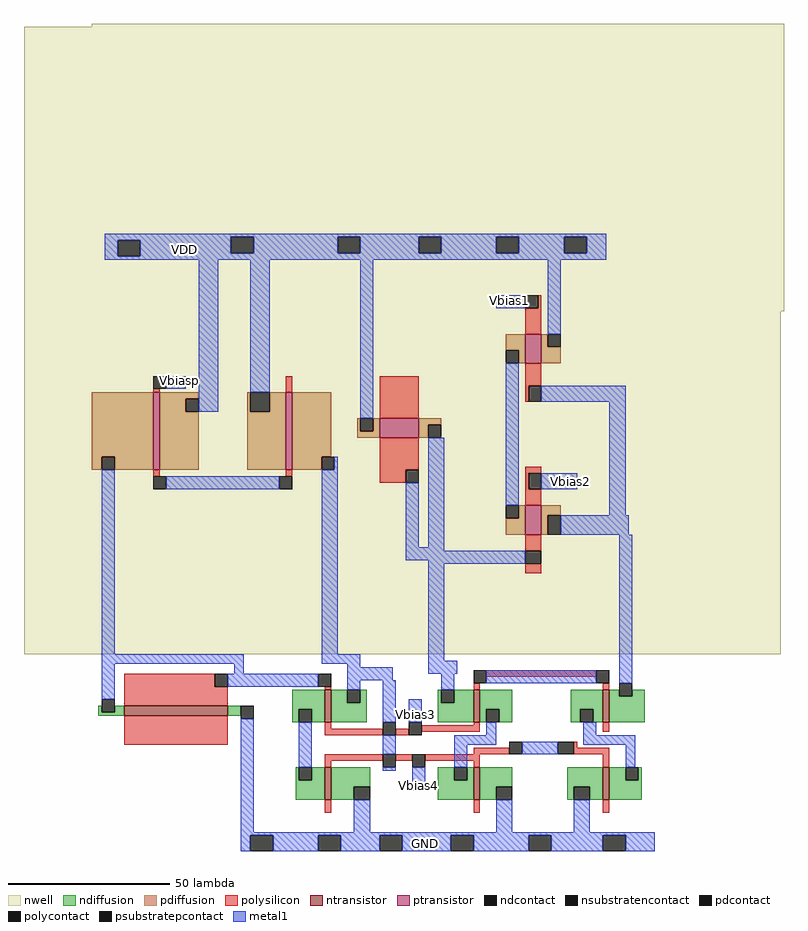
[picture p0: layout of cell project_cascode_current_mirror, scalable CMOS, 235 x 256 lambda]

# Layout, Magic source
magic
tech scmos
<< nwell >>
rect -97 114 117 115
rect -118 26 117 114
rect -118 -80 116 26
<< ntransistor >>
rect -87 -99 -55 -96
rect -25 -101 -23 -91
rect 21 -101 23 -91
rect 61 -101 63 -91
rect -25 -125 -23 -115
rect 21 -125 23 -115
rect 61 -125 63 -115
<< ptransistor >>
rect 37 10 42 19
rect -78 -23 -76 1
rect -37 -23 -35 1
rect -8 -13 4 -7
rect 37 -43 42 -34
<< ndiffusion >>
rect -95 -98 -94 -96
rect -90 -98 -87 -96
rect -95 -99 -87 -98
rect -55 -99 -51 -96
rect -35 -97 -25 -91
rect -35 -101 -33 -97
rect -29 -101 -25 -97
rect -23 -95 -18 -91
rect -14 -95 -12 -91
rect -23 -101 -12 -95
rect 10 -95 11 -91
rect 15 -95 21 -91
rect 10 -101 21 -95
rect 23 -97 33 -91
rect 23 -101 25 -97
rect 29 -101 33 -97
rect 51 -97 61 -91
rect 51 -101 54 -97
rect 58 -101 61 -97
rect 63 -93 66 -91
rect 70 -93 74 -91
rect 63 -101 74 -93
rect -34 -119 -33 -115
rect -29 -119 -25 -115
rect -34 -125 -25 -119
rect -23 -121 -11 -115
rect -23 -125 -16 -121
rect 10 -119 15 -115
rect 19 -119 21 -115
rect 10 -125 21 -119
rect 23 -121 33 -115
rect 23 -125 28 -121
rect 50 -121 61 -115
rect 50 -125 52 -121
rect 57 -125 61 -121
rect 63 -119 68 -115
rect 72 -119 73 -115
rect 63 -125 73 -119
<< pdiffusion >>
rect 31 14 37 19
rect 35 10 37 14
rect 42 15 44 19
rect 42 10 48 15
rect -97 -19 -78 1
rect -97 -23 -94 -19
rect -90 -23 -78 -19
rect -76 -1 -64 1
rect -76 -5 -68 -1
rect -76 -23 -64 -5
rect -49 -5 -48 1
rect -42 -5 -37 1
rect -49 -23 -37 -5
rect -35 -19 -23 1
rect -15 -11 -14 -7
rect -10 -11 -8 -7
rect -15 -13 -8 -11
rect 4 -9 11 -7
rect 4 -13 7 -9
rect -35 -23 -26 -19
rect 35 -38 37 -34
rect 31 -43 37 -38
rect 42 -37 48 -34
rect 42 -43 44 -37
<< ndcontact >>
rect -94 -98 -90 -94
rect -51 -100 -47 -96
rect -33 -101 -29 -97
rect -18 -95 -14 -91
rect 11 -95 15 -91
rect 25 -101 29 -97
rect 54 -101 58 -97
rect 66 -93 70 -89
rect -33 -119 -29 -115
rect -16 -125 -11 -121
rect 15 -119 19 -115
rect 28 -125 33 -121
rect 52 -125 57 -121
rect 68 -119 72 -115
<< pdcontact >>
rect 31 10 35 14
rect 44 15 48 19
rect -94 -23 -90 -19
rect -68 -5 -64 -1
rect -48 -5 -42 1
rect -14 -11 -10 -7
rect 7 -13 11 -9
rect -26 -23 -22 -19
rect 31 -38 35 -34
rect 44 -43 48 -37
<< psubstratepcontact >>
rect -48 -141 -41 -136
rect -27 -141 -20 -136
rect -8 -141 -1 -136
rect 14 -141 21 -136
rect 38 -141 45 -136
rect 61 -141 68 -136
<< nsubstratencontact >>
rect -89 43 -82 48
rect -54 44 -47 49
rect -21 44 -14 49
rect 4 44 11 49
rect 28 44 35 49
rect 49 44 56 49
<< polysilicon >>
rect 41 27 42 31
rect 37 19 42 27
rect -78 1 -76 2
rect -37 1 -35 6
rect -8 -7 4 6
rect 37 3 42 10
rect 37 -2 38 3
rect -8 -23 4 -13
rect -78 -25 -76 -23
rect -37 -25 -35 -23
rect -8 -27 0 -23
rect 37 -24 42 -22
rect 37 -29 38 -24
rect 37 -34 42 -29
rect 37 -48 42 -43
rect 37 -55 42 -52
rect -87 -90 -59 -86
rect -87 -96 -55 -90
rect -25 -91 -23 -90
rect 25 -87 59 -85
rect 21 -91 23 -89
rect 61 -91 63 -89
rect -87 -108 -55 -99
rect -25 -103 -23 -101
rect -25 -105 -7 -103
rect -3 -105 1 -103
rect 21 -102 23 -101
rect 5 -104 23 -102
rect 61 -104 63 -101
rect 21 -111 32 -109
rect 52 -109 53 -107
rect 52 -111 63 -109
rect -25 -113 -7 -111
rect -25 -115 -23 -113
rect -3 -113 2 -111
rect 6 -113 23 -111
rect 21 -115 23 -113
rect 61 -115 63 -111
rect -25 -129 -23 -125
rect 21 -129 23 -125
rect 61 -129 63 -125
<< polycontact >>
rect 37 27 41 31
rect -78 2 -74 6
rect 38 -2 42 3
rect -78 -29 -74 -25
rect -39 -29 -35 -25
rect 0 -27 4 -23
rect 38 -29 42 -24
rect 37 -52 42 -48
rect -59 -90 -55 -86
rect -27 -90 -23 -86
rect 21 -89 25 -85
rect 59 -89 63 -85
rect -7 -105 -3 -101
rect 1 -105 5 -101
rect 32 -111 36 -107
rect 47 -111 52 -107
rect -7 -115 -3 -111
rect 2 -115 6 -111
<< metal1 >>
rect -93 49 62 50
rect -93 48 -54 49
rect -93 43 -89 48
rect -82 44 -54 48
rect -47 44 -21 49
rect -14 44 4 49
rect 11 44 28 49
rect 35 44 49 49
rect 56 44 62 49
rect -82 43 62 44
rect -93 42 62 43
rect -74 2 -68 6
rect -64 -5 -58 42
rect -48 1 -42 42
rect -14 -7 -10 42
rect 28 27 37 31
rect 44 19 48 42
rect -94 -80 -90 -23
rect -22 -23 -21 -19
rect -74 -29 -39 -25
rect -26 -80 -21 -23
rect 0 -47 4 -27
rect 7 -47 12 -13
rect 31 -34 35 10
rect 42 -2 68 3
rect 42 -29 53 -24
rect 63 -37 68 -2
rect 48 -43 69 -37
rect 0 -48 12 -47
rect 0 -51 37 -48
rect 7 -52 37 -51
rect -94 -83 -50 -80
rect -26 -83 -14 -80
rect -94 -94 -90 -83
rect -53 -86 -50 -83
rect -18 -84 -14 -83
rect 7 -82 12 -52
rect -55 -90 -27 -86
rect -18 -88 -4 -84
rect 7 -86 16 -82
rect -18 -91 -14 -88
rect -51 -135 -47 -100
rect -33 -115 -29 -101
rect -7 -101 -3 -88
rect 11 -91 15 -86
rect 25 -89 59 -85
rect 66 -89 70 -43
rect 1 -101 5 -94
rect 25 -105 28 -101
rect -7 -111 -3 -105
rect 15 -108 28 -105
rect 55 -105 59 -101
rect -7 -116 -3 -115
rect 2 -122 6 -115
rect 15 -115 19 -108
rect 36 -111 47 -107
rect 55 -108 71 -105
rect 68 -115 71 -108
rect -16 -135 -11 -125
rect 28 -135 33 -125
rect 52 -135 57 -125
rect -51 -136 77 -135
rect -51 -141 -48 -136
rect -41 -141 -27 -136
rect -20 -141 -8 -136
rect -1 -141 14 -136
rect 21 -141 38 -136
rect 45 -141 61 -136
rect 68 -141 77 -136
<< labels >>
rlabel metal1 -72 44 -65 46 1 VDD
rlabel metal1 4 -140 8 -137 1 GND
rlabel metal1 -72 3 -68 6 1 Vbiasp
rlabel metal1 2 -122 6 -119 1 Vbias4
rlabel metal1 1 -100 5 -97 1 Vbias3
rlabel metal1 49 -28 53 -25 1 Vbias2
rlabel metal1 30 28 34 31 1 Vbias1
<< end >>
